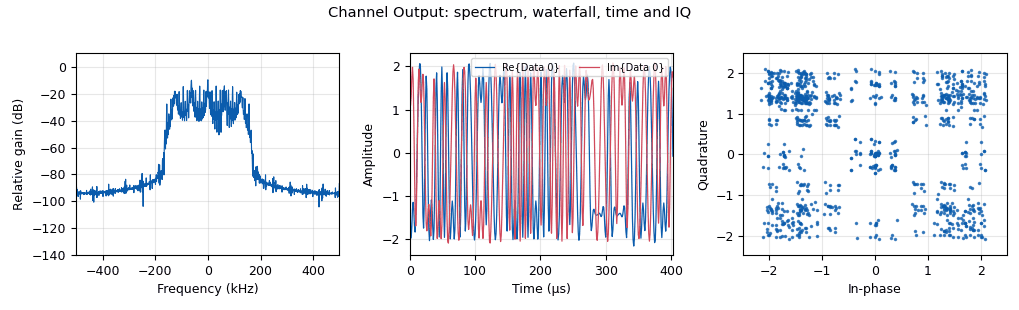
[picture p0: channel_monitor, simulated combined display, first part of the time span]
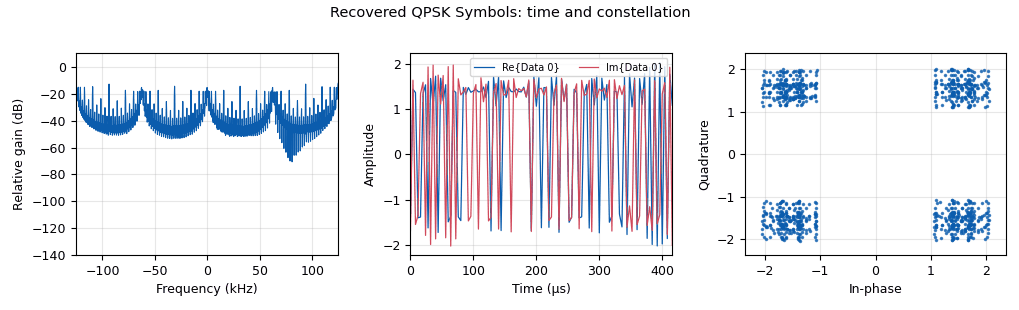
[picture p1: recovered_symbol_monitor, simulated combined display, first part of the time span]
options:
  parameters:
    author: Mohit Sharma
    category: '[Custom]'
    comment: Self-contained software-only QPSK link testbench. No external files, scripts, SDR hardware or custom blocks are required.
    description: Repeating built-in byte source, QPSK modulation, simulated channel, timing/carrier recovery, QPSK decoding, and QT GUI monitoring.
    generate_options: qt_gui
    id: sdr_qpsk_telemetry_standalone
    output_language: python
    placement: (0, 0)
    title: Standalone SDR QPSK Link Testbench
  states: {}

blocks:
- name: fs
  id: variable
  parameters:
    comment: Sample rate (1 MS/s).
    value: 1e6
  states: {}
- name: sps
  id: variable
  parameters:
    comment: Samples per symbol.
    value: '4'
  states: {}
- name: rolloff
  id: variable
  parameters:
    comment: RRC roll-off factor.
    value: '0.35'
  states: {}
- name: noise
  id: variable
  parameters:
    comment: Channel noise voltage; start at zero.
    value: '0.0'
  states: {}
- name: qpsk
  id: variable
  parameters:
    comment: QPSK constellation object.
    value: digital.constellation_qpsk().base()
  states: {}
- name: internal_test_bytes
  id: blocks_vector_source_x
  parameters:
    repeat: 'True'
    type: byte
    vector: '[0, 1, 2, 3, 4, 5, 6, 7, 8, 9, 10, 11, 12, 13, 14, 15, 16, 17, 18, 19, 20, 21, 22, 23, 24, 25, 26, 27, 28, 29, 30, 31, 32, 33, 34, 35, 36, 37, 38, 39, 40, 41, 42, 43, 44, 45, 46, 47, 48, 49, 50, 51, 52, 53, 54, 55, 56, 57, 58, 59, 60, 61, 62, 63, 64, 65, 66, 67, 68, 69, 70, 71, 72, 73, 74, 75, 76, 77, 78, 79, 80, 81, 82, 83, 84, 85, 86, 87, 88, 89, 90, 91, 92, 93, 94, 95, 96, 97, 98, 99, 100, 101, 102, 103, 104, 105, 106, 107, 108, 109, 110, 111, 112, 113, 114, 115, 116, 117, 118, 119, 120, 121, 122, 123, 124, 125, 126, 127, 128, 129, 130, 131, 132, 133, 134, 135, 136, 137, 138, 139, 140, 141, 142, 143, 144, 145, 146, 147, 148, 149, 150, 151, 152, 153, 154, 155, 156, 157, 158, 159, 160, 161, 162, 163, 164, 165, 166, 167, 168, 169, 170, 171, 172, 173, 174, 175, 176, 177, 178, 179, 180, 181, 182, 183, 184, 185, 186, 187, 188, 189, 190, 191, 192, 193, 194, 195, 196, 197, 198, 199, 200, 201, 202, 203, 204, 205, 206, 207, 208, 209, 210, 211, 212, 213, 214, 215, 216, 217, 218, 219, 220, 221, 222, 223, 224, 225, 226, 227, 228, 229, 230, 231, 232, 233, 234, 235, 236, 237, 238, 239, 240, 241, 242, 243, 244, 245, 246, 247, 248, 249, 250, 251, 252, 253, 254, 255]'
  states: {}
- name: qpsk_modulator
  id: digital_constellation_modulator
  parameters:
    constellation: qpsk
    differential: 'False'
    rolloff: rolloff
    samples_per_symbol: sps
  states: {}
- name: simulated_channel
  id: channels_channel_model
  parameters:
    epsilon: '1.0'
    freq_offset: '0.0'
    noise: noise
    seed: '2026'
    taps: '[1.0]'
  states: {}
- name: sample_rate_limiter
  id: blocks_throttle2
  parameters:
    samples_per_second: fs
    type: complex
  states: {}
- name: symbol_timing_recovery
  id: digital_symbol_sync_xx
  parameters:
    constellation: qpsk
    damping: '0.707107'
    loop_bw: '0.00628318'
    max_dev: '1.5'
    nfilters: '32'
    osps: '1'
    resamp_type: digital.IR_MMSE_8TAP
    sps: sps
    ted_gain: '1.0'
    ted_type: digital.TED_GARDNER
    type: cc
  states: {}
- name: qpsk_carrier_recovery
  id: digital_costas_loop_cc
  parameters:
    order: '4'
    w: '0.00628318'
  states: {}
- name: qpsk_symbol_decoder
  id: digital_constellation_decoder_cb
  parameters:
    constellation: qpsk
  states: {}
- name: decoded_bits_to_bytes
  id: blocks_unpacked_to_packed_xx
  parameters:
    bits_per_chunk: '2'
    endianness: gr.GR_MSB_FIRST
    type: byte
  states: {}
- name: consume_decoded_bytes
  id: blocks_null_sink
  parameters:
    type: byte
  states: {}
- name: channel_monitor
  id: qtgui_sink_x
  parameters:
    bw: fs
    fc: '0'
    fftsize: '1024'
    name: '''Channel Output: spectrum, waterfall, time and IQ'''
    type: complex
    wintype: window.WIN_HAMMING
  states: {}
- name: recovered_symbol_monitor
  id: qtgui_sink_x
  parameters:
    bw: fs/sps
    fc: '0'
    fftsize: '1024'
    name: '''Recovered QPSK Symbols: time and constellation'''
    type: complex
    wintype: window.WIN_HAMMING
  states: {}

connections:
- [internal_test_bytes, '0', qpsk_modulator, '0']
- [qpsk_modulator, '0', simulated_channel, '0']
- [simulated_channel, '0', sample_rate_limiter, '0']
- [sample_rate_limiter, '0', symbol_timing_recovery, '0']
- [sample_rate_limiter, '0', channel_monitor, '0']
- [symbol_timing_recovery, '0', qpsk_carrier_recovery, '0']
- [qpsk_carrier_recovery, '0', recovered_symbol_monitor, '0']
- [qpsk_carrier_recovery, '0', qpsk_symbol_decoder, '0']
- [qpsk_symbol_decoder, '0', decoded_bits_to_bytes, '0']
- [decoded_bits_to_bytes, '0', consume_decoded_bytes, '0']

metadata:
  file_format: 1
  grc_version: 3.10.12.0
